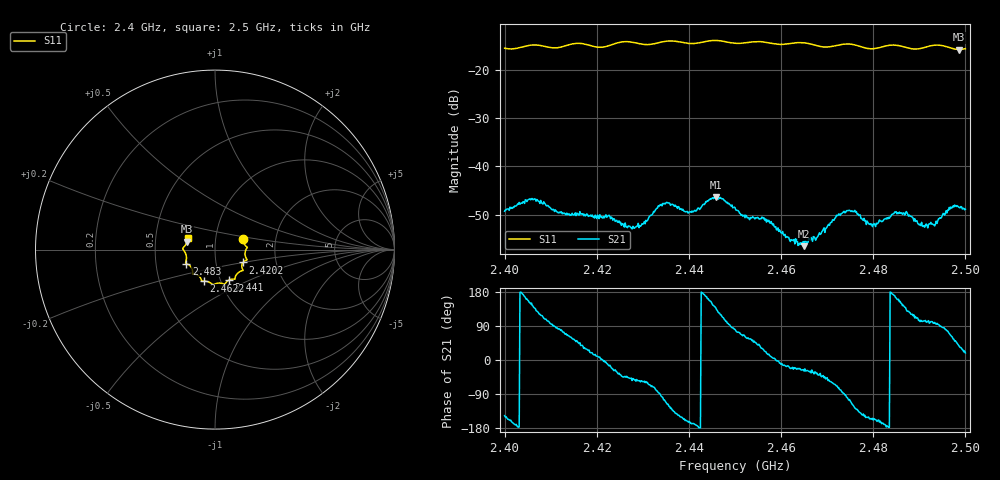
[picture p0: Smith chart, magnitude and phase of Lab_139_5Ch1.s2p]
# Hz S RI R 50
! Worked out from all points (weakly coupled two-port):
!   601 points, 2.4 GHz to 2.5 GHz, reference 50 ohm
!   highest |S21| = -46.34 dB at 2.4458 GHz (marker M1); lowest = -56.5 dB at 2.465 GHz (marker M2)
!   lowest |S11| = -15.8 dB at 2.4987 GHz (marker M3), VSWR 1.39, Z = 36.4 + j3.33 ohm
!   |S11| at or under -10 dB: start of sweep to end of sweep
!   S12 and S22 are empty: the file has one direction only
!   S11 on the Smith chart (normalised r, x): 2.4 GHz: 1.36, +0.17; 2.4202 GHz: 1.35, -0.20; 2.441 GHz: 1.09, -0.39; 2.4622 GHz: 0.83, -0.30; 2.483 GHz: 0.72, -0.12; 2.5 GHz: 0.73, +0.10
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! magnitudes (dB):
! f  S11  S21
! 2.4 GHz  -15.6  -49.3
! 2.4062 GHz  -14.9  -46.9
! 2.4117 GHz  -15.4  -49.6
! 2.4167 GHz  -14.6  -49.8
! 2.4202 GHz  -15.3  -50.1
! 2.428 GHz  -14.4  -52.8
! 2.4333 GHz  -14.4  -48.2
! 2.441 GHz  -14.6  -49.4
! 2.4458 GHz  -13.9  -46.3
! 2.45 GHz  -14.5  -48.5
! 2.4575 GHz  -14.4  -51.7
! 2.4622 GHz  -14.5  -55.2
! 2.465 GHz  -14.4  -56.5
! 2.4667 GHz  -14.7  -55.2
! 2.4745 GHz  -14.7  -49.2
! 2.4795 GHz  -15.7  -52.1
! 2.483 GHz  -15.0  -50.6
! 2.4833 GHz  -15.0  -50.5
! 2.487 GHz  -15.3  -49.8
! 2.4913 GHz  -15.3  -52.2
! 2.4987 GHz  -15.8  -48.5
! 2.5 GHz  -15.6  -48.9
